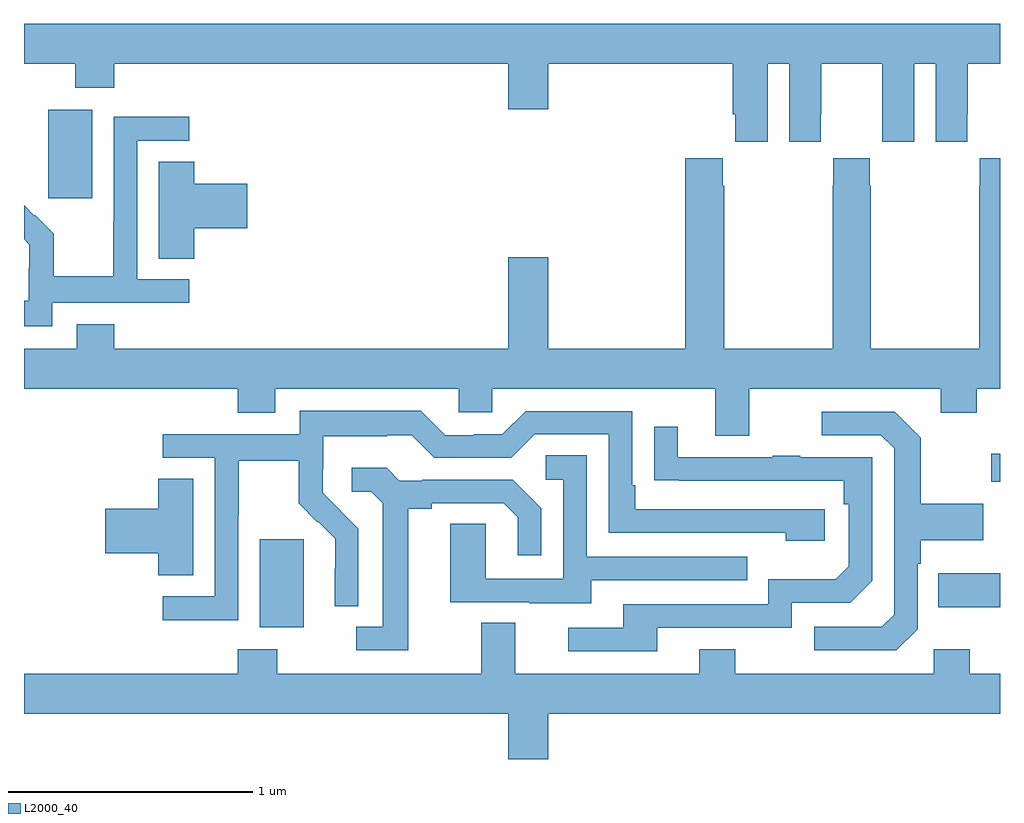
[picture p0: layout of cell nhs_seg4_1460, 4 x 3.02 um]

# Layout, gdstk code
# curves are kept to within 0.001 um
import gdstk
lib = gdstk.Library(unit=1e-6, precision=1e-09)
def R(c, l, rs):  # rectangles x0, y0, x1, y1
    for r in rs: c.add(gdstk.rectangle(r[:2], r[2:], *l))
def P(c, l, *ps):  # polygons
    for p in ps: c.add(gdstk.Polygon(p, *l))
L2000_40 = (2000, 40)

nhs_seg4_1460 = lib.new_cell('nhs_seg4_1460')
R(nhs_seg4_1460, L2000_40, [(187.967,755.882,188.146,756.243), (190.747,755.963,191,756.103), (190.965,756.479,191,756.592), (187.1,757.641,187.279,758.002)])
P(nhs_seg4_1460, L2000_40, [(190.048,758.192),(190.136,758.192),(190.136,757.872),(190.266,757.872),(190.266,757.984),(190.267,757.984),(190.267,758.192),(190.517,758.192),(190.517,757.984),(190.518,757.984),(190.518,757.872),(190.648,757.872),(190.648,758.192),(190.736,758.192),(190.736,757.872),(190.866,757.872),(190.866,757.984),(190.867,757.984),(190.867,758.192),(191,758.192),(191,758.356),(187,758.356),(187,758.192),(187.21,758.192),(187.21,758.093),(187.37,758.093),(187.37,758.192),(188.984,758.192),(188.984,758.004),(189.148,758.004),(189.148,758.192),(189.905,758.192),(189.905,757.984),(189.914,757.984),(189.914,757.872),(190.048,757.872)],
  [(187.116,757.212),(187.678,757.212),(187.678,757.308),(187.464,757.308),(187.464,757.875),(187.678,757.875),(187.678,757.974),(187.368,757.974),(187.368,757.544),(187.366,757.544),(187.366,757.321),(187.121,757.321),(187.121,757.495),(187.044,757.572),(187.041,757.569),(187,757.611),(187,757.472),(187.022,757.45),(187.022,757.353),(187.02,757.353),(187.02,757.219),(187,757.219),(187,757.115),(187.116,757.115)],
  [(189.973,756.86),(190.757,756.86),(190.757,756.761),(190.905,756.761),(190.905,756.86),(191,756.86),(191,757.804),(190.917,757.804),(190.917,757.691),(190.915,757.691),(190.915,757.024),(190.47,757.024),(190.47,757.691),(190.467,757.691),(190.467,757.804),(190.317,757.804),(190.317,757.691),(190.315,757.691),(190.315,757.024),(189.87,757.024),(189.87,757.691),(189.863,757.691),(189.863,757.804),(189.71,757.804),(189.71,757.024),(189.148,757.024),(189.148,757.399),(188.984,757.399),(188.984,757.024),(187.37,757.024),(187.37,757.123),(187.217,757.123),(187.217,757.024),(187,757.024),(187,756.86),(187.877,756.86),(187.877,756.761),(188.029,756.761),(188.029,756.86),(188.781,756.86),(188.781,756.762),(188.919,756.762),(188.919,756.86),(189.833,756.86),(189.833,756.666),(189.973,756.666)],
  [(187.697,757.517),(187.915,757.517),(187.915,757.7),(187.697,757.7),(187.697,757.79),(187.553,757.79),(187.553,757.393),(187.697,757.393)],
  [(187.878,756.34),(187.881,756.34),(187.881,756.564),(188.125,756.564),(188.125,756.389),(188.202,756.312),(188.205,756.315),(188.276,756.245),(188.276,756.122),(188.274,756.122),(188.274,755.968),(188.37,755.968),(188.37,756.286),(188.224,756.434),(188.224,756.531),(188.226,756.531),(188.226,756.665),(188.489,756.665),(188.489,756.669),(188.589,756.669),(188.682,756.576),(188.997,756.576),(189.093,756.672),(189.396,756.672),(189.396,756.27),(190.121,756.27),(190.121,756.236),(190.282,756.236),(190.282,756.366),(189.505,756.366),(189.505,756.463),(189.492,756.463),(189.492,756.768),(189.057,756.768),(188.961,756.672),(188.843,756.672),(188.843,756.669),(188.727,756.669),(188.627,756.769),(188.13,756.769),(188.13,756.672),(187.569,756.672),(187.569,756.576),(187.782,756.576),(187.782,756.009),(187.569,756.009),(187.569,755.911),(187.878,755.911)],
  [(190.662,755.874),(190.662,756.143),(190.675,756.143),(190.675,756.239),(190.931,756.239),(190.931,756.387),(190.675,756.387),(190.675,756.659),(190.569,756.765),(190.269,756.765),(190.269,756.669),(190.512,756.669),(190.566,756.615),(190.566,755.934),(190.515,755.883),(190.239,755.883),(190.239,755.787),(190.575,755.787)],
  [(189.595,755.88),(190.146,755.88),(190.146,755.982),(190.386,755.982),(190.476,756.072),(190.476,756.579),(190.181,756.579),(190.181,756.584),(190.069,756.584),(190.069,756.579),(189.679,756.579),(189.679,756.703),(189.583,756.703),(189.583,756.484),(190.36,756.483),(190.36,756.386),(190.38,756.386),(190.38,756.132),(190.327,756.079),(190.05,756.079),(190.05,755.976),(189.455,755.976),(189.455,755.88),(189.231,755.88),(189.231,755.784),(189.595,755.784)],
  [(189.325,756.075),(189.965,756.075),(189.965,756.171),(189.306,756.171),(189.306,756.587),(189.138,756.587),(189.138,756.486),(189.21,756.486),(189.21,756.081),(188.892,756.081),(188.892,756.305),(188.747,756.305),(188.747,755.985),(189.071,755.985),(189.071,755.981),(189.325,755.981)],
  [(188.575,756.368),(188.671,756.368),(188.671,756.39),(188.966,756.39),(189.023,756.333),(189.023,756.177),(189.12,756.177),(189.12,756.37),(189.004,756.486),(188.632,756.486),(188.632,756.483),(188.538,756.483),(188.486,756.535),(188.343,756.535),(188.343,756.438),(188.424,756.438),(188.471,756.391),(188.471,755.883),(188.361,755.883),(188.361,755.787),(188.575,755.787)],
  [(187.693,756.491),(187.55,756.491),(187.55,756.368),(187.332,756.368),(187.332,756.185),(187.55,756.185),(187.55,756.094),(187.693,756.094)],
  [(189.148,755.528),(191,755.528),(191,755.692),(190.875,755.692),(190.875,755.791),(190.728,755.791),(190.728,755.692),(189.915,755.692),(189.915,755.791),(189.767,755.791),(189.767,755.692),(189.013,755.692),(189.013,755.9),(188.873,755.9),(188.873,755.692),(188.037,755.692),(188.037,755.791),(187.877,755.791),(187.877,755.692),(187,755.692),(187,755.528),(188.984,755.528),(188.984,755.34),(189.148,755.34)])

lib.write_gds('nhs_seg4_1460.gds')
